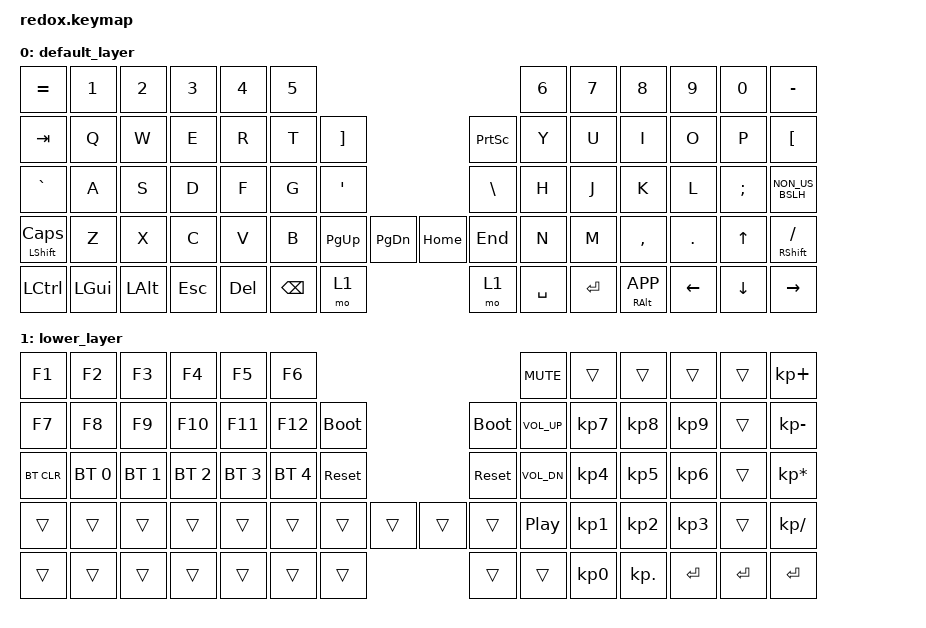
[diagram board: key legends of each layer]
/*
 * Copyright (c) 2021 The ZMK Contributors
 *
 * SPDX-License-Identifier: MIT
 */
 
#include <behaviors.dtsi>
#include <dt-bindings/zmk/keys.h>
#include <dt-bindings/zmk/bt.h>
#include <dt-bindings/zmk/ext_power.h>
#include <dt-bindings/zmk/outputs.h>

/ {
    keymap {
        compatible =  "zmk,keymap" ;

        default_layer {
// --------------------------------------------------------------------------------------------------------------------------------
// | ESC   |  1  |  2  |   3   |  4  |  5  |                   ---                |  6    |  7    |  8    |  9   | 0  |    BKSP   |
// | TAB   |  Q  |  W  |   E   |  R  |  T  |   (   |           ---        |  )    |  Y    |  U    |  I    |  O   | P  |     -     |
// | CTRL  |  A  |  S  |   D   |  F  |  G  |   [   |           ---        |  ]    |  H    |  J    |  K    |  L   | ;  |     '     |
// | SHIFT |  Z  |  X  |   C   |  V  |  B  | PG_UP | PG_DOWN | --- | HOME | END   |  N    |  M    |  ,    |  .   | /  | SHFT(RET) |
// | CRTL  | ALT | GUI | LOWER |    GUI    | LOWER | SPACE   | --- | DEL  | SPACE |     RAISE     | LEFT  | DOWN | UP |   RIGHT   |
            bindings = <
   &kp EQUAL       &kp N1   &kp N2   &kp N3    &kp N4   &kp N5                                            &kp N6    &kp N7 &kp N8           &kp N9    &kp N0    &kp MINUS
   &kp TAB         &kp Q    &kp W    &kp E     &kp R    &kp T  &kp RBKT                        &kp PSCRN  &kp Y     &kp U  &kp I            &kp O     &kp P     &kp LBKT
   &kp GRAVE       &kp A    &kp S    &kp D     &kp F    &kp G  &kp SQT                         &kp BSLH   &kp H     &kp J  &kp K            &kp L     &kp SEMI  &kp NON_US_BSLH
   &mt LSHFT CLCK  &kp Z    &kp X    &kp C     &kp V    &kp B  &kp PG_UP &kp PG_DN    &kp HOME &kp END    &kp N     &kp M  &kp COMMA        &kp DOT   &kp UP    &mt RSHFT FSLH
   &kp LCTRL       &kp LGUI &kp LALT &kp ESC   &kp DEL         &kp BSPC &mo 1         &mo 1  &kp SPACE    &kp RET   &mt RALT K_APP   &kp LEFT  &kp DOWN  &kp RIGHT
            >;

        };
        
        lower_layer {
// --------------------------------------------------------------------------------------------------------------------------
// | ESC   |  1  |  2  |   3   |   4   |  5  |                   ---              |  6  |  7  |   8  |  9   |  0  |  DEL  |
// | ESC   |  1  |  2  |   3   |   4   |  5  |   (   |           ---        |  )  |  6  |  7  |   8  |  9   |  0  |  DEL  |
// | CTRL  |  -  |  =  |   [   |   ]   |  \  |   [   |           ---        |  ]  |  *  |  4  |   5  |  6   |  +  |   -   |
// | SHIFT | ESC | GUI | COPY  | PASTE |     | PG_UP | PG_DOWN | --- | HOME | END |  \  |  1  |   2  |  3   | RET |  RET  |
// | CRTL  | ALT | GUI | LOWER |     GUI     | LOWER | SPACE   | --- | DEL  |  0  |    RAISE  | LEFT | DOWN | UP  | RIGHT |
            bindings = <
  &kp F1      &kp F2        &kp F3         &kp F4        &kp F5         &kp F6                                                       &kp C_MUTE     &trans      &trans      &trans       &trans      &kp KP_PLUS
  &kp F7      &kp F8        &kp F9         &kp F10       &kp F11        &kp F12        &bootloader                      &bootloader  &kp C_VOL_UP   &kp KP_N7   &kp KP_N8   &kp KP_N9    &trans      &kp KP_MINUS
  &bt BT_CLR  &bt BT_SEL 0  &bt BT_SEL 1   &bt BT_SEL 2  &bt BT_SEL 3   &bt BT_SEL 4   &sys_reset                           &sys_reset       &kp C_VOL_DN   &kp KP_N4   &kp KP_N5   &kp KP_N6    &trans      &kp KP_MULTIPLY
  &trans      &trans        &trans         &trans        &trans         &trans         &trans      &trans       &trans  &trans       &kp C_PP       &kp KP_N1   &kp KP_N2   &kp KP_N3    &trans      &kp KP_DIVIDE 
  &trans      &trans        &trans         &trans        &trans         &trans         &trans                           &trans       &trans         &kp KP_N0   &kp KP_DOT  &kp RET      &kp RET     &kp RET
            >;
        };

       
        
        
    };
};
